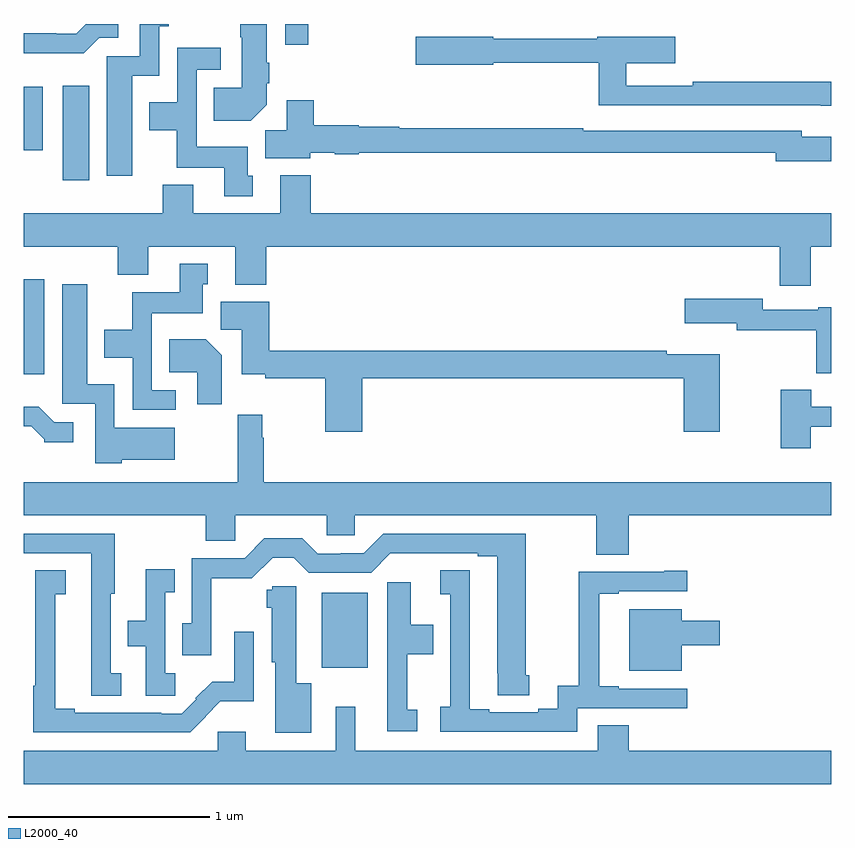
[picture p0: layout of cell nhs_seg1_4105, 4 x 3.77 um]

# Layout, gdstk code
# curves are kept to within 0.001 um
import gdstk
lib = gdstk.Library(unit=1e-6, precision=1e-09)
def R(c, l, rs):  # rectangles x0, y0, x1, y1
    for r in rs: c.add(gdstk.rectangle(r[:2], r[2:], *l))
def P(c, l, *ps):  # polygons
    for p in ps: c.add(gdstk.Polygon(p, *l))
L2000_40 = (2000, 40)

nhs_seg1_4105 = lib.new_cell('nhs_seg1_4105')
R(nhs_seg1_4105, L2000_40, [(336.476,519.008,336.703,519.379), (335,520.464,335.101,520.933), (335.192,521.424,335.323,521.893), (335,521.573,335.092,521.887), (336.294,522.096,336.41,522.199)])
P(nhs_seg1_4105, L2000_40, [(335.536,521.942),(335.67,521.942),(335.67,522.187),(335.718,522.187),(335.718,522.199),(335.574,522.199),(335.574,522.039),(335.411,522.039),(335.411,521.448),(335.536,521.448)],
  [(336.202,521.798),(336.202,521.905),(336.215,521.905),(336.215,522.008),(336.202,522.008),(336.202,522.199),(336.073,522.199),(336.073,522.134),(336.08,522.134),(336.08,521.884),(335.941,521.884),(335.941,521.72),(336.124,521.72)],
  [(335.373,522.132),(335.467,522.132),(335.467,522.199),(335.307,522.199),(335.258,522.15),(335.159,522.15),(335.159,522.153),(335,522.153),(335,522.054),(335.295,522.054)],
  [(339,521.912),(338.314,521.912),(338.314,521.892),(337.985,521.892),(337.985,522.005),(338.227,522.005),(338.227,522.135),(337.842,522.135),(337.842,522.127),(337.326,522.127),(337.326,522.135),(336.942,522.135),(336.942,521.998),(337.326,521.998),(337.326,522.006),(337.849,522.006),(337.849,521.796),(338.95,521.796),(338.95,521.795),(339,521.795)],
  [(336.133,521.448),(336.109,521.448),(336.109,521.59),(335.856,521.59),(335.856,521.973),(335.974,521.973),(335.974,522.082),(335.76,522.082),(335.76,521.812),(335.621,521.812),(335.621,521.672),(335.758,521.672),(335.758,521.486),(335.993,521.486),(335.993,521.346),(336.133,521.346)],
  [(339,521.641),(338.854,521.641),(338.854,521.67),(337.772,521.67),(337.772,521.683),(336.86,521.683),(336.86,521.69),(336.66,521.69),(336.66,521.698),(336.437,521.698),(336.437,521.821),(336.302,521.821),(336.302,521.672),(336.197,521.672),(336.197,521.534),(336.42,521.534),(336.42,521.561),(336.54,521.561),(336.54,521.554),(336.66,521.554),(336.66,521.562),(338.726,521.562),(338.726,521.519),(339,521.519)],
  [(338.899,521.096),(339,521.096),(339,521.26),(336.422,521.26),(336.422,521.449),(336.269,521.449),(336.269,521.26),(335.839,521.26),(335.839,521.401),(335.687,521.401),(335.687,521.26),(335,521.26),(335,521.096),(335.465,521.096),(335.465,520.955),(335.617,520.955),(335.617,521.096),(336.047,521.096),(336.047,520.907),(336.2,520.907),(336.2,521.096),(338.747,521.096),(338.747,520.902),(338.899,520.902)],
  [(335.752,520.383),(335.634,520.383),(335.634,520.766),(335.887,520.766),(335.887,520.908),(335.911,520.908),(335.911,521.011),(335.771,521.011),(335.771,520.87),(335.536,520.87),(335.536,520.684),(335.399,520.684),(335.399,520.544),(335.538,520.544),(335.538,520.287),(335.752,520.287)],
  [(335.484,520.04),(335.746,520.04),(335.746,520.198),(335.448,520.198),(335.448,520.414),(335.314,520.414),(335.314,520.909),(335.189,520.909),(335.189,520.317),(335.352,520.317),(335.352,520.022),(335.484,520.022)],
  [(339,520.795),(338.936,520.795),(338.936,520.782),(338.662,520.782),(338.662,520.837),(338.274,520.837),(338.274,520.715),(338.534,520.715),(338.534,520.681),(338.926,520.681),(338.926,520.469),(339,520.469)],
  [(336.677,520.444),(338.27,520.444),(338.27,520.179),(338.448,520.179),(338.448,520.561),(338.186,520.561),(338.186,520.58),(336.215,520.58),(336.215,520.822),(335.975,520.822),(335.975,520.684),(336.08,520.684),(336.08,520.463),(336.196,520.463),(336.196,520.444),(336.494,520.444),(336.494,520.179),(336.677,520.179)],
  [(335.98,520.558),(335.902,520.636),(335.719,520.636),(335.719,520.472),(335.858,520.472),(335.858,520.314),(335.98,520.314)],
  [(338.899,520.203),(339,520.203),(339,520.303),(338.902,520.303),(338.902,520.387),(338.752,520.387),(338.752,520.097),(338.899,520.097)],
  [(335.245,520.224),(335.151,520.224),(335.073,520.303),(335,520.303),(335,520.206),(335.036,520.206),(335.1,520.142),(335.1,520.127),(335.245,520.127)],
  [(336.188,520.148),(336.181,520.148),(336.181,520.261),(336.06,520.261),(336.06,519.928),(335,519.928),(335,519.764),(335.902,519.764),(335.902,519.637),(336.048,519.637),(336.048,519.764),(336.501,519.764),(336.501,519.666),(336.639,519.666),(336.639,519.764),(337.837,519.764),(337.837,519.568),(337.997,519.568),(337.997,519.764),(339,519.764),(339,519.928),(336.188,519.928)],
  [(335.482,518.98),(335.43,518.98),(335.43,519.375),(335.449,519.375),(335.449,519.672),(335,519.672),(335,519.576),(335.334,519.576),(335.334,519.275),(335.333,519.275),(335.333,518.869),(335.482,518.869)],
  [(337.504,518.97),(337.486,518.97),(337.486,519.672),(336.78,519.672),(336.684,519.576),(336.569,519.576),(336.569,519.573),(336.456,519.573),(336.38,519.649),(336.19,519.649),(336.093,519.552),(335.832,519.552),(335.832,519.23),(335.785,519.23),(335.785,519.069),(335.928,519.069),(335.928,519.451),(336.13,519.451),(336.232,519.554),(336.338,519.554),(336.411,519.48),(336.72,519.48),(336.815,519.575),(337.25,519.576),(337.25,519.561),(337.346,519.561),(337.347,518.872),(337.504,518.872)],
  [(335.749,518.98),(335.7,518.98),(335.7,519.383),(335.747,519.383),(335.747,519.496),(335.603,519.496),(335.603,519.242),(335.515,519.242),(335.515,519.114),(335.604,519.114),(335.604,518.869),(335.749,518.869)],
  [(337.743,518.808),(338.287,518.808),(338.287,518.904),(337.948,518.904),(337.948,518.917),(337.852,518.917),(337.852,519.375),(337.948,519.375),(337.948,519.387),(338.287,519.387),(338.287,519.488),(338.174,519.488),(338.174,519.483),(337.75,519.483),(337.75,518.92),(337.646,518.92),(337.646,518.806),(337.55,518.806),(337.55,518.787),(337.306,518.787),(337.306,518.802),(337.21,518.802),(337.21,519.383),(337.209,519.383),(337.209,519.491),(337.062,519.491),(337.062,519.373),(337.113,519.373),(337.113,518.815),(337.062,518.815),(337.062,518.691),(337.743,518.691)],
  [(335.902,518.765),(335.9,518.768),(335.973,518.841),(336.138,518.841),(336.138,519.187),(336.042,519.187),(336.042,518.939),(335.933,518.939),(335.85,518.856),(335.853,518.853),(335.781,518.781),(335.681,518.781),(335.681,518.784),(335.251,518.784),(335.251,518.804),(335.156,518.804),(335.156,519.373),(335.206,519.373),(335.206,519.491),(335.057,519.491),(335.057,518.918),(335.046,518.918),(335.046,518.688),(335.824,518.688)],
  [(336.949,518.799),(336.899,518.799),(336.899,519.074),(337.028,519.074),(337.028,519.222),(336.916,519.222),(336.916,519.433),(336.8,519.433),(336.8,518.694),(336.949,518.694)],
  [(336.424,518.932),(336.349,518.932),(336.349,519.411),(336.231,519.411),(336.231,519.396),(336.203,519.396),(336.203,519.306),(336.227,519.306),(336.227,519.036),(336.246,519.036),(336.246,518.687),(336.424,518.687)],
  [(338.26,519.119),(338.449,519.119),(338.449,519.241),(338.26,519.241),(338.26,519.298),(338,519.298),(338,518.993),(338.26,518.993)],
  [(339,518.596),(337.997,518.596),(337.997,518.723),(337.844,518.723),(337.844,518.596),(336.643,518.596),(336.643,518.815),(336.546,518.815),(336.546,518.596),(336.1,518.596),(336.1,518.692),(335.961,518.692),(335.961,518.596),(335,518.596),(335,518.432),(339,518.432)])

lib.write_gds('nhs_seg1_4105.gds')
